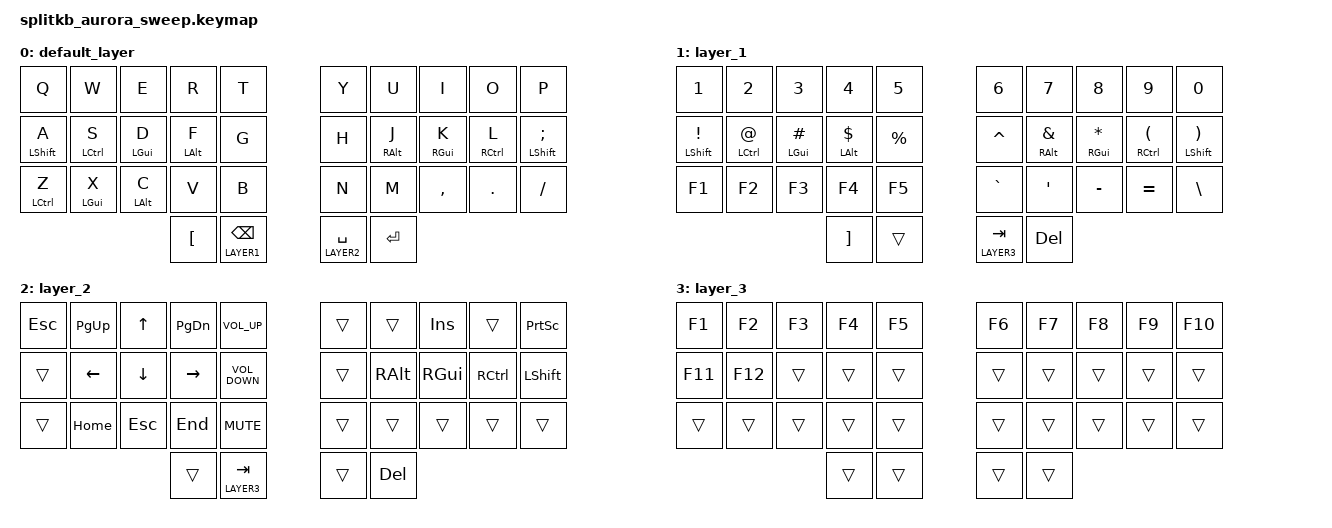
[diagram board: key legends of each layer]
/*
 * Copyright (c) 2022 The ZMK Contributors
 *
 * SPDX-License-Identifier: MIT
 */

#define HOST_OS 1

#include "../helper.h"
// #include "../international_characters/config.dtsi"
#include <behaviors.dtsi>
#include <dt-bindings/zmk/keys.h>

// Layers

#define DEFAULT 0
#define LAYER1 1 //Symbol
#define LAYER2 2 //Navigation
#define LAYER3 3 //Function

&mt {
    flavor = "tap-preferred";
    tapping_term_ms = <200>;
};

// inspired by https://lo.calho.st/posts/practical-34-key-layout/
/ {
    combos {
        compatible = "zmk,combos";

        combo_ralt {
            timeout-ms = <50>;
            key-positions = <17 16>;
            bindings = <&kp ESCAPE>;
        };
    };

    keymap {
        compatible = "zmk,keymap";

        default_layer {
            bindings = <
&kp Q              &kp W         &kp E         &kp R               &kp T                   &kp Y             &kp U       &kp I         &kp O         &kp P
&mt LEFT_SHIFT A   &mt LCTRL S   &mt LGUI D    &mt LALT F          &kp G                   &kp H             &mt RALT J  &mt RGUI K    &mt RCTRL L   &mt LEFT_SHIFT SEMI
&mt LCTRL Z        &mt LGUI X    &mt LALT C    &kp V               &kp B                   &kp N             &kp M       &kp COMMA     &kp PERIOD    &kp SLASH
                                               &kp LEFT_BRACKET    &lt LAYER1 BACKSPACE    &lt LAYER2 SPACE  &kp ENTER
            >;
        };

        layer_1 {
            bindings = <
&kp NUMBER_1                 &kp NUMBER_2        &kp NUMBER_3     &kp NUMBER_4           &kp NUMBER_5    &kp NUMBER_6      &kp NUMBER_7         &kp NUMBER_8      &kp NUMBER_9                 &kp NUMBER_0
&mt LEFT_SHIFT EXCLAMATION   &mt LCTRL AT_SIGN   &mt LGUI HASH    &mt LALT DOLLAR        &kp PERCENT     &kp CARET         &mt RALT AMPERSAND   &mt RGUI ASTRK    &mt RCTRL LEFT_PARENTHESIS   &mt LEFT_SHIFT RIGHT_PARENTHESIS
&kp F1                       &kp F2              &kp F3           &kp F4                 &kp F5          &kp GRAVE         &kp APOSTROPHE       &kp MINUS         &kp EQUAL                    &kp BACKSLASH
                                                                  &kp RIGHT_BRACKET      &trans          &lt LAYER3 TAB    &kp DELETE
            >;
        };

        layer_2 {
            bindings = <
&kp ESCAPE  &kp PG_UP        &kp UP_ARROW     &kp PAGE_DOWN     &kp C_VOLUME_UP        &trans    &trans      &kp INSERT   &trans      &kp PRINTSCREEN
&trans      &kp LEFT_ARROW   &kp DOWN_ARROW   &kp RIGHT_ARROW   &kp C_VOLUME_DOWN      &trans    &kp RALT    &kp RGUI     &kp RCTRL   &kp LEFT_SHIFT
&trans      &kp HOME         &kp ESCAPE       &kp END           &kp C_MUTE             &trans    &trans      &trans       &trans      &trans
                                              &trans            &lt LAYER3 TAB         &trans    &kp DELETE
            >;
        };

        layer_3 {
            bindings = <
&kp F1    &kp F2   &kp F3   &kp F4   &kp F5   &kp F6   &kp F7   &kp F8   &kp F9   &kp F10
&kp F11   &kp F12  &trans   &trans   &trans   &trans   &trans   &trans   &trans   &trans
&trans    &trans   &trans   &trans   &trans   &trans   &trans   &trans   &trans   &trans
                            &trans   &trans   &trans   &trans       
            >;
        };
    };
};
